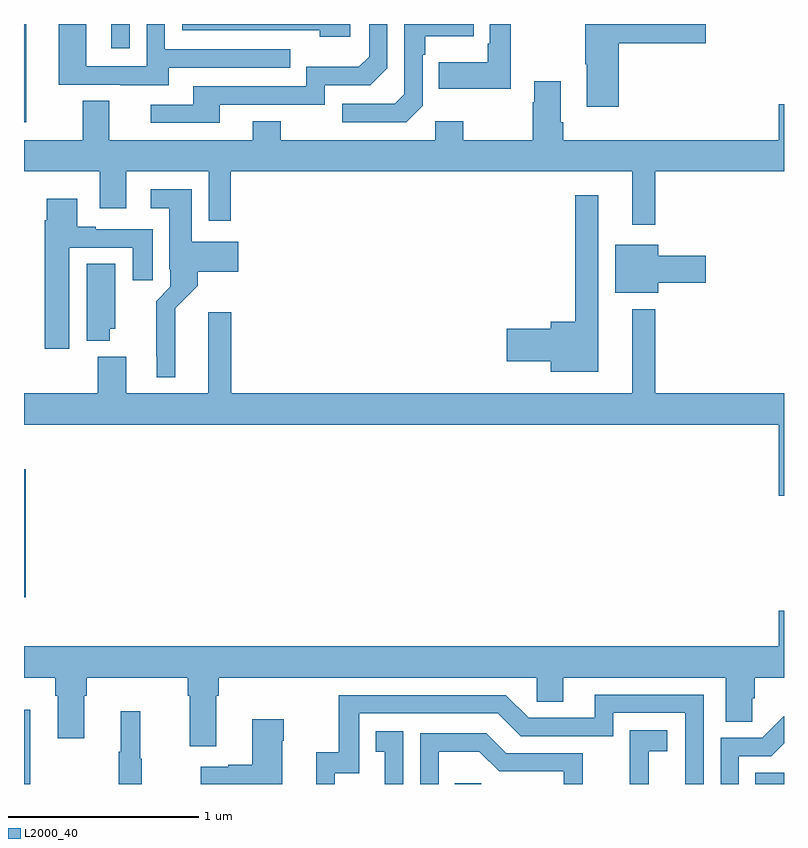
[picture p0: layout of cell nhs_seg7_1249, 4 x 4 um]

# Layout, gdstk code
import gdstk
lib = gdstk.Library(unit=1e-6, precision=1e-09)
def R(c, l, rs):  # rectangles x0, y0, x1, y1
    for r in rs: c.add(gdstk.rectangle(r[:2], r[2:], *l))
def P(c, l, *ps):  # polygons
    for p in ps: c.add(gdstk.Polygon(p, *l))
L2000_40 = (2000, 40)

nhs_seg7_1249 = lib.new_cell('nhs_seg7_1249')
R(nhs_seg7_1249, L2000_40, [(197,1056,197.032,1056.391), (199.267,1056,199.407,1056.003), (200.848,1056,201,1056.058), (197,1056.982,197.009,1057.657), (197,1059.483,197.011,1060), (197.459,1059.873,197.556,1060)])
P(nhs_seg7_1249, L2000_40, [(197.761,1059.771),(198.401,1059.771),(198.401,1059.867),(197.742,1059.867),(197.742,1060),(197.646,1060),(197.646,1059.777),(197.328,1059.777),(197.328,1060),(197.183,1060),(197.183,1059.681),(197.507,1059.681),(197.507,1059.677),(197.761,1059.677)],
  [(200.129,1059.899),(200.587,1059.899),(200.587,1060),(199.954,1060),(199.954,1059.787),(199.961,1059.787),(199.961,1059.564),(200.129,1059.564)],
  [(198.718,1060),(197.832,1060),(197.832,1059.966),(198.557,1059.966),(198.557,1059.932),(198.718,1059.932)],
  [(199.098,1059.57),(199.098,1059.839),(199.111,1059.839),(199.111,1059.935),(199.367,1059.935),(199.367,1060),(199.002,1060),(199.002,1059.63),(198.951,1059.579),(198.675,1059.579),(198.675,1059.483),(199.011,1059.483)],
  [(198.031,1059.576),(198.582,1059.576),(198.582,1059.678),(198.822,1059.678),(198.912,1059.768),(198.912,1060),(198.816,1060),(198.816,1059.828),(198.763,1059.775),(198.486,1059.775),(198.486,1059.672),(197.891,1059.672),(197.891,1059.576),(197.667,1059.576),(197.667,1059.48),(198.031,1059.48)],
  [(199.561,1060),(199.452,1060),(199.452,1059.895),(199.44,1059.895),(199.44,1059.799),(199.183,1059.799),(199.183,1059.659),(199.561,1059.659)],
  [(200.323,1059.224),(201,1059.224),(201,1059.577),(200.972,1059.577),(200.972,1059.388),(199.838,1059.388),(199.838,1059.484),(199.825,1059.484),(199.825,1059.7),(199.685,1059.7),(199.685,1059.587),(199.678,1059.587),(199.678,1059.388),(199.311,1059.388),(199.311,1059.487),(199.164,1059.487),(199.164,1059.388),(198.351,1059.388),(198.351,1059.487),(198.203,1059.487),(198.203,1059.388),(197.449,1059.388),(197.449,1059.596),(197.309,1059.596),(197.309,1059.388),(197,1059.388),(197,1059.224),(197.399,1059.224),(197.399,1059.03),(197.539,1059.03),(197.539,1059.224),(197.973,1059.224),(197.973,1058.964),(198.089,1058.964),(198.089,1059.224),(200.201,1059.224),(200.201,1058.943),(200.323,1058.943)],
  [(197.797,1058.504),(197.915,1058.622),(197.915,1058.696),(198.127,1058.696),(198.127,1058.854),(197.884,1058.854),(197.884,1059.13),(197.667,1059.13),(197.667,1059.029),(197.765,1059.029),(197.765,1058.71),(197.769,1058.71),(197.769,1058.616),(197.695,1058.542),(197.695,1058.251),(197.699,1058.251),(197.699,1058.141),(197.797,1058.141)],
  [(200.023,1059.1),(199.902,1059.1),(199.902,1058.434),(199.772,1058.434),(199.772,1058.396),(199.542,1058.396),(199.542,1058.225),(199.772,1058.225),(199.772,1058.171),(200.023,1058.171)],
  [(197.239,1058.823),(197.573,1058.823),(197.573,1058.652),(197.677,1058.652),(197.677,1058.919),(197.377,1058.919),(197.377,1058.932),(197.281,1058.932),(197.281,1059.079),(197.12,1059.079),(197.12,1058.966),(197.108,1058.966),(197.108,1058.292),(197.239,1058.292)],
  [(200.338,1058.639),(200.587,1058.639),(200.587,1058.781),(200.338,1058.781),(200.338,1058.839),(200.111,1058.839),(200.111,1058.585),(200.338,1058.585)],
  [(197.452,1058.397),(197.479,1058.397),(197.479,1058.738),(197.33,1058.738),(197.33,1058.333),(197.452,1058.333)],
  [(201,1058.056),(200.323,1058.056),(200.323,1058.5),(200.201,1058.5),(200.201,1058.056),(198.092,1058.056),(198.092,1058.482),(197.969,1058.482),(197.969,1058.056),(197.539,1058.056),(197.539,1058.248),(197.387,1058.248),(197.387,1058.056),(197,1058.056),(197,1057.892),(200.972,1057.892),(200.972,1057.518),(201,1057.518)],
  [(198.013,1056.464),(198.026,1056.464),(198.026,1056.56),(199.698,1056.56),(199.698,1056.433),(199.837,1056.433),(199.837,1056.56),(200.693,1056.56),(200.693,1056.328),(200.832,1056.328),(200.832,1056.451),(200.846,1056.451),(200.846,1056.56),(201,1056.56),(201,1056.913),(200.972,1056.913),(200.972,1056.724),(197,1056.724),(197,1056.56),(197.165,1056.56),(197.165,1056.464),(197.177,1056.464),(197.177,1056.24),(197.317,1056.24),(197.317,1056.464),(197.33,1056.464),(197.33,1056.56),(197.861,1056.56),(197.861,1056.464),(197.873,1056.464),(197.873,1056.198),(198.013,1056.198)],
  [(198.636,1056.057),(198.765,1056.057),(198.765,1056.372),(199.494,1056.372),(199.614,1056.252),(200.1,1056.252),(200.1,1056.375),(200.481,1056.375),(200.481,1056),(200.577,1056),(200.577,1056.471),(200.003,1056.471),(200.003,1056.348),(199.656,1056.348),(199.536,1056.468),(198.657,1056.468),(198.657,1056.166),(198.539,1056.166),(198.539,1056),(198.636,1056)],
  [(197.62,1056.132),(197.612,1056.132),(197.612,1056.382),(197.51,1056.382),(197.51,1056.169),(197.499,1056.169),(197.499,1056),(197.62,1056)],
  [(200.763,1056.147),(200.932,1056.147),(201,1056.215),(201,1056.356),(200.999,1056.356),(200.886,1056.243),(200.667,1056.243),(200.667,1056),(200.763,1056)],
  [(198.358,1056.227),(198.366,1056.227),(198.366,1056.34),(198.2,1056.34),(198.2,1056.101),(198.074,1056.101),(198.074,1056.091),(197.931,1056.091),(197.931,1056),(198.358,1056)],
  [(200.288,1056.173),(200.386,1056.173),(200.386,1056.283),(200.188,1056.283),(200.188,1056.077),(200.189,1056.077),(200.189,1056),(200.288,1056)],
  [(198.996,1056.277),(198.85,1056.277),(198.85,1056.171),(198.899,1056.171),(198.899,1056),(198.996,1056)],
  [(199.182,1056.17),(199.396,1056.17),(199.5,1056.066),(199.842,1056.066),(199.842,1056),(199.941,1056),(199.941,1056.162),(199.537,1056.162),(199.432,1056.267),(199.086,1056.267),(199.086,1056),(199.182,1056)])

lib.write_gds('nhs_seg7_1249.gds')
